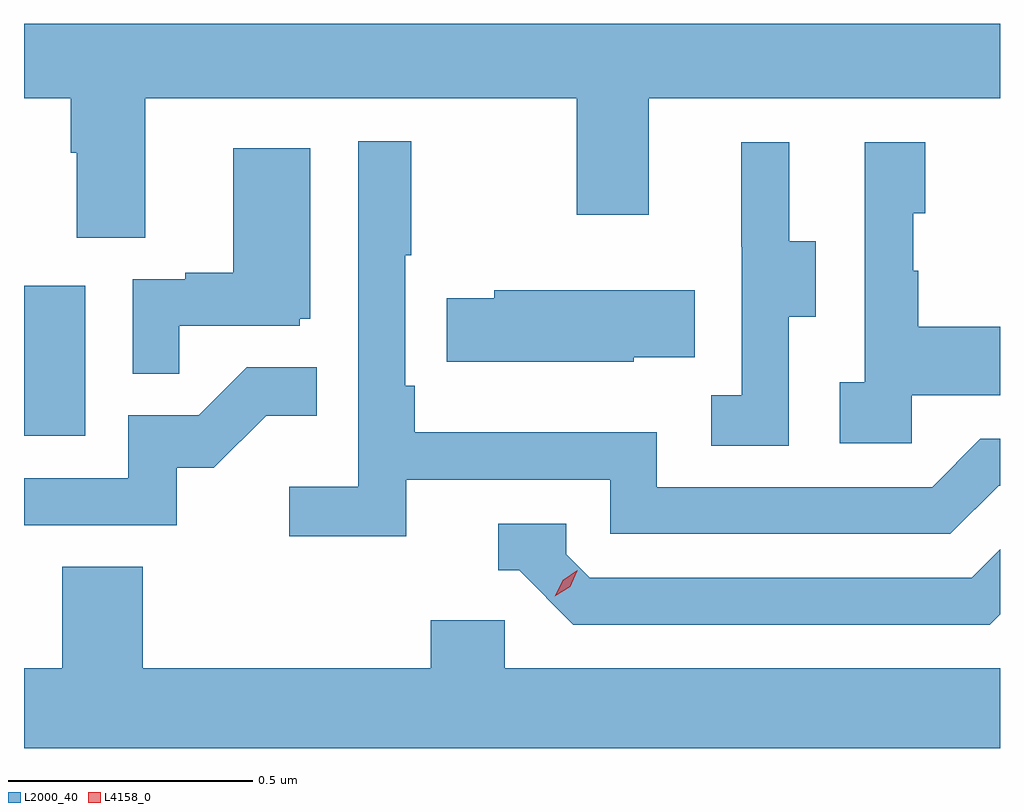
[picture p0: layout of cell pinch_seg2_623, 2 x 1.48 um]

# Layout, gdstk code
import gdstk
lib = gdstk.Library(unit=1e-6, precision=1e-09)
def R(c, l, rs):  # rectangles x0, y0, x1, y1
    for r in rs: c.add(gdstk.rectangle(r[:2], r[2:], *l))
def P(c, l, *ps):  # polygons
    for p in ps: c.add(gdstk.Polygon(p, *l))
L2000_40 = (2000, 40)
L4158_0 = (4158, 0)

pinch_seg2_623 = lib.new_cell('pinch_seg2_623')
R(pinch_seg2_623, L2000_40, [(1045.145,608.316,1045.27,608.623)])
P(pinch_seg2_623, L2000_40, [(1045.393,609.008),(1046.278,609.008),(1046.278,608.769),(1046.425,608.769),(1046.425,609.008),(1047.145,609.008),(1047.145,609.16),(1045.145,609.16),(1045.145,609.008),(1045.241,609.008),(1045.241,608.896),(1045.253,608.896),(1045.253,608.722),(1045.393,608.722)],
  [(1045.928,608.226),(1046.346,608.226),(1046.346,608.115),(1047.043,608.115),(1047.142,608.214),(1047.145,608.214),(1047.145,608.31),(1047.105,608.31),(1047.006,608.211),(1046.442,608.211),(1046.442,608.323),(1045.946,608.323),(1045.946,608.419),(1045.926,608.419),(1045.926,608.686),(1045.939,608.686),(1045.939,608.92),(1045.83,608.92),(1045.83,608.212),(1045.689,608.212),(1045.689,608.11),(1045.928,608.11)],
  [(1046.712,608.56),(1046.767,608.56),(1046.767,608.715),(1046.713,608.715),(1046.713,608.917),(1046.615,608.917),(1046.615,608.703),(1046.616,608.703),(1046.616,608.399),(1046.553,608.399),(1046.553,608.296),(1046.712,608.296)],
  [(1046.964,608.399),(1047.145,608.399),(1047.145,608.539),(1046.977,608.539),(1046.977,608.654),(1046.967,608.654),(1046.967,608.772),(1046.992,608.772),(1046.992,608.917),(1046.868,608.917),(1046.868,608.426),(1046.817,608.426),(1046.817,608.301),(1046.964,608.301)],
  [(1045.463,608.541),(1045.71,608.541),(1045.71,608.556),(1045.732,608.556),(1045.732,608.905),(1045.574,608.905),(1045.574,608.65),(1045.475,608.65),(1045.475,608.637),(1045.368,608.637),(1045.368,608.443),(1045.463,608.443)],
  [(1046.394,608.477),(1046.519,608.477),(1046.519,608.614),(1046.109,608.614),(1046.109,608.598),(1046.011,608.598),(1046.011,608.468),(1046.394,608.468)],
  [(1045.458,608.25),(1045.534,608.25),(1045.641,608.357),(1045.745,608.357),(1045.745,608.456),(1045.601,608.456),(1045.503,608.358),(1045.359,608.358),(1045.359,608.229),(1045.145,608.229),(1045.145,608.133),(1045.458,608.133)],
  [(1047.145,607.95),(1047.145,608.083),(1047.087,608.025),(1046.304,608.025),(1046.256,608.073),(1046.256,608.136),(1046.117,608.136),(1046.117,608.04),(1046.16,608.04),(1046.271,607.929),(1047.124,607.929)],
  [(1047.145,607.84),(1046.13,607.84),(1046.13,607.938),(1045.978,607.938),(1045.978,607.84),(1045.388,607.84),(1045.388,608.048),(1045.223,608.048),(1045.223,607.84),(1045.145,607.84),(1045.145,607.676),(1047.145,607.676)])
P(pinch_seg2_623, L4158_0, [(1046.233,607.987),(1046.233,607.987),(1046.249,608.02),(1046.279,608.04),(1046.279,608.04),(1046.279,608.039),(1046.264,608.007),(1046.233,607.987)])

lib.write_gds('pinch_seg2_623.gds')
